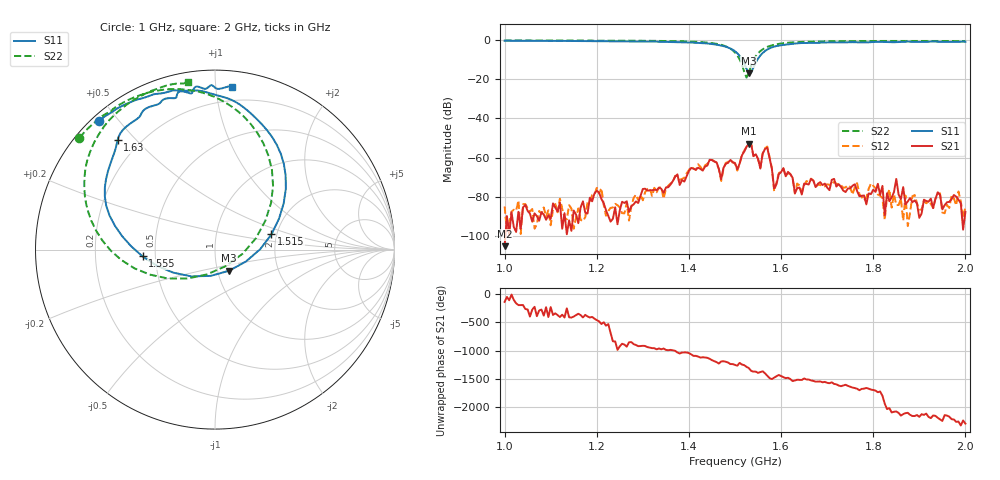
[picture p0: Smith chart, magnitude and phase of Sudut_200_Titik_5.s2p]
# Hz S RI R 50
! CMT, C1220, 16058040, 17.2.0/1
! Date: 14/08/2018 11:49:16
! Data: Format (Calibration Info)
! Freq  S11: Re/Im (F2)  S21: Re/Im (F2)  S12: Re/Im (F2)  S22: Re/Im (F2)
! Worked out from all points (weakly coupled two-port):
!   201 points, 1 GHz to 2 GHz, reference 50 ohm
!   highest |S21| = -52.90 dB at 1.53 GHz (marker M1); lowest = -105.2 dB at 1 GHz (marker M2)
!   lowest |S11| = -17.0 dB at 1.53 GHz (marker M3), VSWR 1.33, Z = 56.8 - j13.7 ohm
!   |S11| at or under -10 dB: 1.516 GHz to 1.549 GHz (33.05 MHz wide, 2.16 % of centre)
!   |S22| runs from -19.2 to -0.2 dB; largest |S21 - S12| = 0.00023
!   S11 on the Smith chart (normalised r, x): 1 GHz: 0.02, +0.44; 1.515 GHz: 1.87, +0.36; 1.555 GHz: 0.42, -0.04; 1.63 GHz: 0.12, +0.44; 2 GHz: 0.11, +1.11
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1e9  -0.6482 0.7149  -4.01e-06 -3.77e-06  -5.07e-05 2.55e-05  -0.7551 0.6243
1.17e9  -0.4691 0.8222  4.85e-05 -5.93e-05  2.2e-05 9.46e-06  -0.6181 0.7505
1.335e9  -0.2054 0.8861  -8.89e-05 0.000147  -5.17e-05 0.000163  -0.4008 0.8662
1.345e9  -0.1816 0.8849  -6.43e-05 0.000109  -1.79e-05 8.77e-05  -0.3796 0.8727
1.37e9  -0.1036 0.8864  5.92e-05 0.000319  7.2e-05 0.000333  -0.3194 0.8862
1.445e9  0.1598 0.7924  0.000423 -0.000775  0.000383 -0.000798  -0.00925 0.8534
1.47e9  0.2907 0.6642  -8.84e-05 -0.000269  -9.47e-05 -0.000236  0.1623 0.7398
1.48e9  0.3452 0.582  -0.000275 -0.000638  -0.000302 -0.000669  0.2359 0.6504
1.5e9  0.3947 0.3394  -0.000716 -0.000131  -0.000709 -3.03e-05  0.3235 0.3558
1.515e9  0.3146 0.0851  -0.00109 -0.000343  -0.00114 -0.000382  0.2286 0.0644
1.53e9  0.0785 -0.1178  -0.00162 0.00158  -0.00162 0.00157  -0.0436 -0.1378
1.555e9  -0.4037 -0.0377  0.000224 0.000476  0.000238 0.000502  -0.5216 -0.0581
1.57e9  -0.5578 0.1334  0.0018 -2.06e-05  0.00192 -5.55e-05  -0.6615 0.1041
1.585e9  -0.6138 0.2964  0.000135 -8.95e-05  9.39e-05 -0.000101  -0.7179 0.2547
1.605e9  -0.5838 0.476  0.000488 -0.000236  0.000465 -0.000238  -0.7263 0.4096
1.63e9  -0.543 0.6089  1.07e-05 -0.000124  4.12e-05 -0.000114  -0.6969 0.5413
1.67e9  -0.4327 0.7294  -9.24e-06 -0.000258  -3.58e-05 -0.00026  -0.6277 0.6718
1.775e9  -0.2283 0.8435  -6.39e-05 8.44e-05  -6.27e-05 7.81e-05  -0.4616 0.8283
1.835e9  -0.1391 0.8705  -6.44e-05 4.19e-05  -5.68e-05 0.000144  -0.377 0.8743
1.85e9  -0.1247 0.8796  9.46e-06 0.000286  2.12e-05 5.77e-05  -0.3564 0.8836
1.86e9  -0.1181 0.8972  8.32e-05 2.28e-05  8.22e-05 -3.62e-05  -0.3424 0.8889
2e9  0.0964 0.9037  -2.43e-05 -3.3e-05  2.94e-06 -5.5e-05  -0.1519 0.9341
